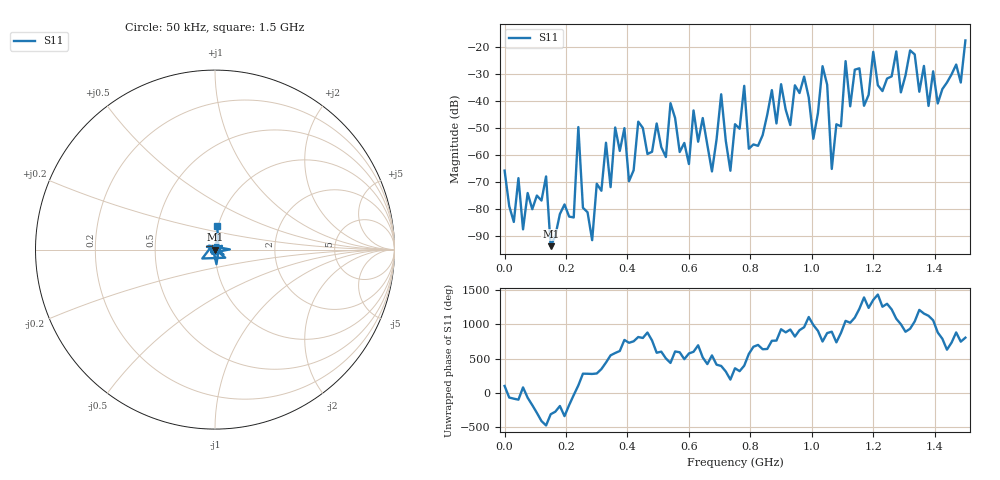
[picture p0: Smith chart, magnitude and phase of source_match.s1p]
! Created with skrf 1.8.0 (http://scikit-rf.org).
# Hz S RI R 50.0
!freq ReS11 ImS11
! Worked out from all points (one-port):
!   101 points, 50 kHz to 1.5 GHz, reference 50 ohm
!   lowest |S11| = -93.7 dB at 150 MHz (marker M1), VSWR 1.00, Z = 50 + j0.0015 ohm
!   |S11| at or under -10 dB: start of sweep to end of sweep
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50000  -8.43e-05 0.000509
1.50045e8  1.42e-05 1.5e-05
1.950435e8  0.000116 3.92e-05
2.250425e8  5.83e-05 -3.87e-05
2.40042e8  -0.000979 0.00315
2.550415e8  1.63e-05 -0.000105
3.750375e8  -0.000405 -0.00112
5.250325e8  -0.000721 0.000572
5.40032e8  0.00227 0.00883
5.70031e8  -0.000709 -0.000892
6.0003e8  -0.000565 -0.000382
6.150295e8  -0.0035 -0.00572
6.750275e8  -0.000496 -4.66e-05
7.050265e8  0.0114 0.007
7.350255e8  -0.000501 -0.000111
7.50025e8  0.00372 -0.000135
8.250225e8  0.00138 -0.000541
9.0002e8  -0.0181 -0.0095
9.30019e8  -0.00329 -0.00144
9.450185e8  -0.00355 0.0192
1.005016e9  -1.49e-05 -0.00201
1.035016e9  0.0389 0.0208
1.065014e9  -0.000548 7.94e-05
1.110013e9  0.0475 -0.0272
1.125012e9  0.00422 -0.00678
1.320006e9  -0.0708 -0.0495
1.380004e9  0.00585 0.00563
1.5e9  0.0125 0.1315
